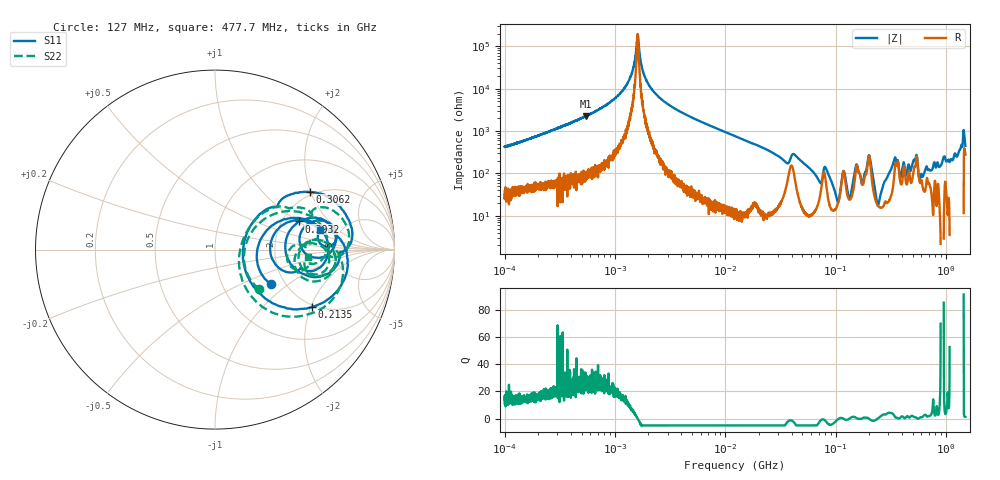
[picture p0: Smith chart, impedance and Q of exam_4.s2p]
#  HZ  S  RI  R  50.0
! Rohde & Schwarz ZVL6 2Ports - Version 3.32 - 1303.6509k06 SN: 100774
! Date: 2022-07-12 12:36:20
! Data & Calibration Information:
! Trc1:S11(TOSM) Trc2:S21(TOSM) Trc3:S12(TOSM) Trc4:S22(TOSM)
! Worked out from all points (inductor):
!   4001 points, 100 kHz to 1.5 GHz, reference 50 ohm
!   read as one part in series: L = 634 uH near 104.9 kHz
!   highest Q = 31.8 at 543.2 kHz (marker M1), where L = 665 uH
!   self-resonance near 1.606 MHz
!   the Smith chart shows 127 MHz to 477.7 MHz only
!   S11 on the Smith chart (normalised r, x): 127 MHz: 1.70, -0.76; 213.5 MHz: 1.93, -2.05; 306.2 MHz: 1.89, +1.97; 393.2 MHz: 2.45, +1.02; 477.7 MHz: 3.52, +1.19
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100000  0.9453 0.2292  0.0677 -0.21  0.0636 -0.2077  0.9011 0.1925
497007.8  0.9923 0.0461  0.00494 -0.0486  0.00413 -0.049  0.9845 0.048
543240.4  0.9938 0.0363  0.0031 -0.0435  0.0033 -0.0441  0.9874 0.0452
1209628  0.9965 0.0125  0.000884 -0.00997  0.000825 -0.00978  0.9981 0.0101
1606373  0.996 0.00144  0.000557 -1.23e-06  0.000578 9.22e-07  0.9969 -0.0026
1882573  0.9979 -0.00722  0.000648 0.00549  0.000626 0.00551  0.9967 -0.00639
2470168  0.9983 -0.0188  0.000797 0.0153  0.00073 0.0152  0.9981 -0.0156
1.224745e7  0.9835 -0.1282  0.0196 0.1289  0.0205 0.1288  0.9847 -0.1386
6.087078e7  0.5737 -0.466  0.4418 0.4356  0.4445 0.4323  0.5555 -0.4886
1.050514e8  0.1892 -0.0903  0.8362 0.0226  0.8367 0.0222  0.1468 -0.1006
1.270223e8  0.3138 -0.1933  0.7211 0.1198  0.7218 0.1196  0.2463 -0.219
1.456764e8  0.4569 0.1767  0.5698 -0.2965  0.5704 -0.2987  0.4072 0.2153
1.875044e8  0.562 0.1291  0.4541 -0.1937  0.4549 -0.1926  0.5018 0.0201
2.134955e8  0.5413 -0.3202  0.4696 0.202  0.4714 0.2049  0.5068 -0.3645
2.460289e8  0.1566 0.00296  0.846 -0.1611  0.8453 -0.1637  0.1391 -0.00796
3.025325e8  0.4952 0.3217  0.4516 -0.4948  0.4505 -0.4931  0.5219 0.2169
3.061908e8  0.5276 0.3217  0.4169 -0.4914  0.4168 -0.4894  0.5367 0.2044
3.931611e8  0.4667 0.1569  0.464 -0.3632  0.4621 -0.3641  0.5283 0.0486
4.776793e8  0.5862 0.1085  0.3651 -0.3913  0.3639 -0.3918  0.5204 -0.0432
5.452023e8  0.6182 -0.3022  0.2328 -0.1155  0.2353 -0.1156  0.6454 -0.1626
8.383739e8  0.6102 -0.00373  0.0977 -0.2983  0.093 -0.3001  0.3699 0.0791
1.5e9  0.4978 0.1456  0.0912 -0.1245  0.092 -0.1219  0.8175 -0.2625
